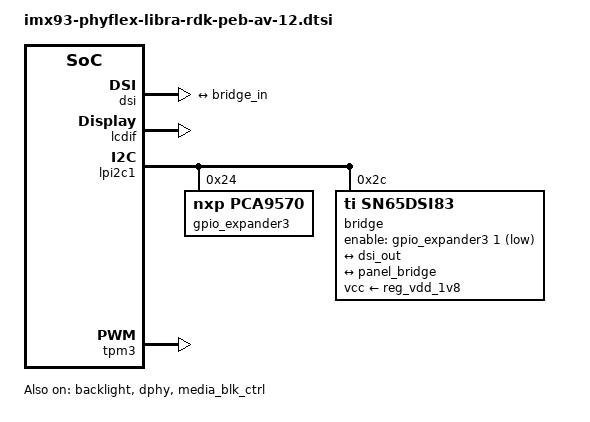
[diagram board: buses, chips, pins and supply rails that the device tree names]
// SPDX-License-Identifier: (GPL-2.0+ OR MIT)
/*
 * Copyright (C) 2026 PHYTEC Messtechnik GmbH
 * Author: Florijan Plohl <florijan.plohl@norik.com>
 */

#include <dt-bindings/gpio/gpio.h>

/dts-v1/;
/plugin/;

&{/} {
	panel_peb: panel-peb {
		backlight = <&backlight>;
		enable-gpios = <&gpio_expander3 0 GPIO_ACTIVE_HIGH>;
		power-supply = <&reg_vdd_3v3>;

		port {
			panel_bridge: endpoint {
				remote-endpoint = <&bridge_out>;
			};
		};
	};
};

&backlight {
	status = "okay";
};

&dphy {
	status = "okay";
};

&dsi {
	status = "okay";

	ports {
		#address-cells = <1>;
		#size-cells = <0>;

		port@1 {
			reg = <1>;
			dsi_out: endpoint {
				remote-endpoint = <&bridge_in>;
			};
		};
	};
};

&lcdif {
	assigned-clock-rates = <300000000>, <60000000>, <400000000>, <133333333>;
	status = "okay";
};

&lpi2c1 {
	#address-cells = <1>;
	#size-cells = <0>;
	status = "okay";

	gpio_expander3: gpio@24 {
		compatible = "nxp,pca9570";
		reg = <0x24>;
		#gpio-cells = <2>;
		gpio-controller;
		gpio-line-names = "LED_EN", "LVDS_nEN", "LVDS_IRQ", "NE555_EN";
	};

	bridge@2c {
		compatible = "ti,sn65dsi83";
		reg = <0x2c>;
		enable-gpios = <&gpio_expander3 1 GPIO_ACTIVE_LOW>;
		vcc-supply = <&reg_vdd_1v8>;
		status = "okay";

		ports {
			#address-cells = <1>;
			#size-cells = <0>;

			port@0 {
				reg = <0>;
				bridge_in: endpoint {
					remote-endpoint = <&dsi_out>;
					data-lanes = <1 2 3 4>;
				};
			};

			port@2 {
				reg = <2>;
				bridge_out: endpoint {
					remote-endpoint = <&panel_bridge>;
				};
			};
		};
	};
};

&media_blk_ctrl {
	status = "okay";
};

&tpm3 {
	status = "okay";
};
